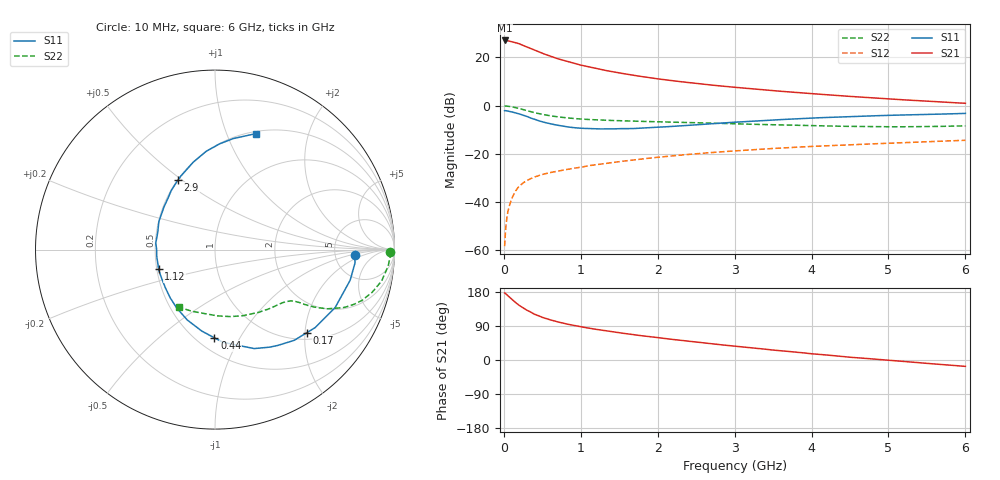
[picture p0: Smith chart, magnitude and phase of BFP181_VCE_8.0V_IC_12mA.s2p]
! Infineon Technologies  Discrete & RF Semiconductors
! BFP181
! VCE = 8.0 V,  IC =  12 mA
! Common Emitter S-Parameters:  Jan 2016
# GHz  S  MA  R  50
!  f  S11  S21  S12  S22
! GHz  MAG  ANG  MAG  ANG  MAG  ANG  MAG  ANG
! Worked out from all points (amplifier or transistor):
!   210 points, 10 MHz to 6 GHz, reference 50 ohm
!   highest |S21| = 27.0 dB at 10 MHz (marker M1)
!   |S21| within 3 dB of that: start of sweep to 323.7 MHz
!   unconditionally stable (mu >= 1): 1.241 GHz to end of sweep
!   at 185 MHz: K = 0.27, MSG = 29.9 dB, |S12| = -34.0 dB
!   at 1.52 GHz: K = 1.06, MAG = 16.8 dB, |S12| = -23.2 dB
!   at 6 GHz: K = 1.02, MAG = 6.8 dB, |S12| = -14.4 dB
!   S11 on the Smith chart (normalised r, x): 10 MHz: 7.80, -1.29; 170 MHz: 1.16, -2.04; 440 MHz: 0.61, -0.79; 1.12 GHz: 0.51, -0.12; 2.9 GHz: 0.50, +0.48; 6 GHz: 0.52, +1.28
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0.01  0.7781 -2.4  22.47 176.9  0.0012 80.0  0.9762 -0.9
0.05  0.772 -12.8  22.21 170.0  0.006 86.3  0.9693 -5.4
0.105  0.7383 -26.9  21.12 160.0  0.0118 74.8  0.9412 -11.0
0.15  0.7074 -37.9  20.35 151.9  0.0165 70.6  0.9082 -15.1
0.17  0.6898 -42.2  19.84 148.9  0.0184 68.9  0.8914 -16.6
0.2  0.6709 -48.9  19.18 144.1  0.0213 67.0  0.8675 -19.0
0.3  0.5931 -68.4  16.5 131.4  0.0278 60.0  0.7829 -24.4
0.4  0.5182 -85.2  14.19 120.6  0.0329 56.4  0.7095 -27.7
0.44  0.4912 -90.4  13.35 117.7  0.0345 54.9  0.6874 -28.4
0.52  0.4503 -101.6  11.85 111.4  0.0377 52.8  0.6461 -29.8
0.6  0.4214 -111.5  10.7 106.1  0.0404 52.3  0.6129 -30.8
0.7  0.3896 -123.0  9.374 100.6  0.0435 51.2  0.5818 -31.5
0.82  0.3624 -134.8  8.288 94.9  0.047 50.7  0.5547 -32.1
1.02  0.3366 -152.9  6.805 87.0  0.0529 50.2  0.5225 -33.3
1.12  0.3321 -161.3  6.274 83.4  0.0568 49.9  0.5115 -34.0
1.5  0.332 173.9  4.754 71.8  0.0684 49.5  0.4841 -37.2
2.02  0.3559 147.6  3.55 58.6  0.0849 47.4  0.4597 -43.2
2.9  0.4392 117.9  2.477 38.6  0.1113 41.5  0.4222 -56.3
3.1  0.459 112.8  2.317 34.7  0.117 40.0  0.4132 -59.7
4.1  0.5578 93.4  1.721 14.9  0.1438 32.0  0.379 -79.3
5.1  0.6312 79.7  1.342 -2.2  0.1673 24.7  0.3613 -101.4
6  0.6861 70.4  1.113 -16.9  0.1899 17.7  0.3781 -122.0
